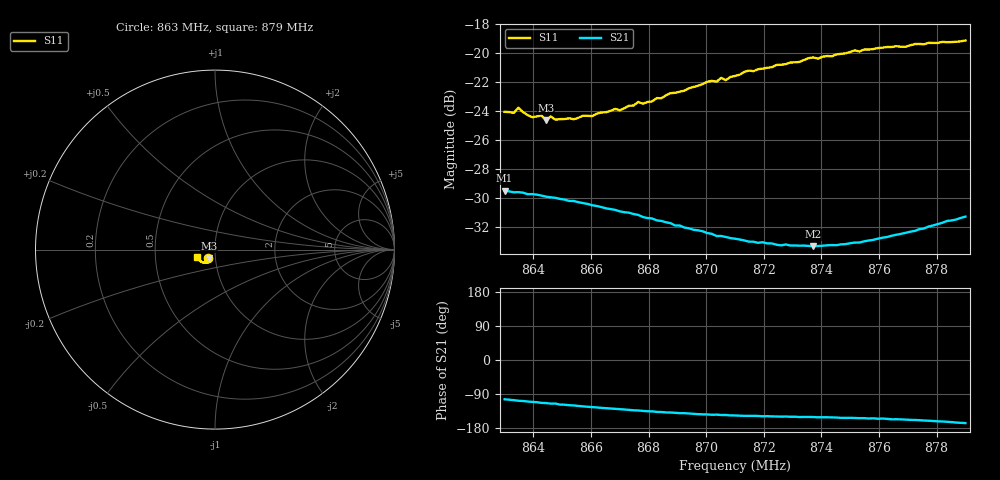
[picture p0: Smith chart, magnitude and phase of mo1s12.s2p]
# HZ S RI R 50
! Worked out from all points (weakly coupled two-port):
!   101 points, 863 MHz to 879 MHz, reference 50 ohm
!   highest |S21| = -29.50 dB at 863 MHz (marker M1); lowest = -33.4 dB at 873.72 MHz (marker M2)
!   lowest |S11| = -24.7 dB at 864.44 MHz (marker M3), VSWR 1.12, Z = 46.6 - j4.52 ohm
!   |S11| at or under -10 dB: start of sweep to end of sweep
!   S12 and S22 are empty: the file has one direction only
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8.63e8  -0.0401 -0.0482  -0.00787 -0.0325  0 0  0 0
8.6332e8  -0.0389 -0.0484  -0.00907 -0.0317  0 0  0 0
8.6348e8  -0.0431 -0.0484  -0.01 -0.0315  0 0  0 0
8.638e8  -0.036 -0.0493  -0.0109 -0.0306  0 0  0 0
8.6428e8  -0.0351 -0.0498  -0.0127 -0.0296  0 0  0 0
8.6444e8  -0.033 -0.0483  -0.0128 -0.0292  0 0  0 0
8.646e8  -0.0341 -0.0498  -0.0134 -0.0287  0 0  0 0
8.6476e8  -0.035 -0.0473  -0.0133 -0.0286  0 0  0 0
8.6572e8  -0.0299 -0.0529  -0.0162 -0.0256  0 0  0 0
8.67e8  -0.0295 -0.0562  -0.0181 -0.0218  0 0  0 0
8.6764e8  -0.0312 -0.0603  -0.0189 -0.0201  0 0  0 0
8.678e8  -0.0291 -0.0602  -0.0189 -0.0194  0 0  0 0
8.6844e8  -0.0303 -0.0629  -0.0193 -0.0178  0 0  0 0
8.7004e8  -0.0385 -0.0697  -0.0192 -0.0141  0 0  0 0
8.7036e8  -0.0388 -0.0696  -0.0189 -0.0136  0 0  0 0
8.7052e8  -0.0407 -0.0714  -0.0191 -0.0133  0 0  0 0
8.7068e8  -0.0395 -0.0703  -0.019 -0.0132  0 0  0 0
8.71e8  -0.043 -0.0715  -0.019 -0.0126  0 0  0 0
8.7372e8  -0.0631 -0.0733  -0.0187 -0.0106  0 0  0 0
8.7532e8  -0.0758 -0.0673  -0.0198 -0.00987  0 0  0 0
8.7644e8  -0.0854 -0.0612  -0.0214 -0.00928  0 0  0 0
8.79e8  -0.1029 -0.0409  -0.0264 -0.00637  0 0  0 0
